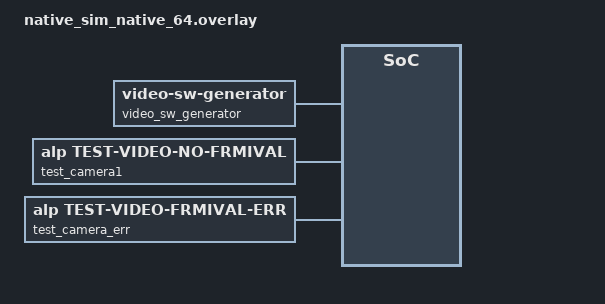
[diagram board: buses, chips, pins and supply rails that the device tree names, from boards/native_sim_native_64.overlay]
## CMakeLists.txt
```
# SPDX-License-Identifier: Apache-2.0
cmake_minimum_required(VERSION 3.20.0)
find_package(Zephyr REQUIRED HINTS $ENV{ZEPHYR_BASE})
project(test_camera_zephyr_video)
target_sources(app PRIVATE
    src/test_video_no_frmival.c
    src/test_video_frmival_err.c
    src/test_camera_zephyr_video.c)
```

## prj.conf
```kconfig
CONFIG_TEST=y
CONFIG_ZTEST=y
CONFIG_ALP_SDK=y

# Pin the SoC choice -- CONFIG_ALP_SDK=y needs one selected, same as
# tests/zephyr/video_sensors; unrelated to the camera backend under test.
CONFIG_ALP_SOC_ALIF_ENSEMBLE_E7=y

CONFIG_VIDEO=y
CONFIG_VIDEO_SW_GENERATOR=y

# native_sim (32-bit) has SRAM_SIZE=0 -> Zephyr picks SYS_HEAP_SMALL_ONLY,
# whose heaps top out at 262136 B; shrink the pool below that instead of the
# 2 MiB default, same as tests/zephyr/video_sensors.
CONFIG_VIDEO_BUFFER_POOL_HEAP_SIZE=65536
```

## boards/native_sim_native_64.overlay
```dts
/*
 * Copyright 2026 Alp Lab AB
 * SPDX-License-Identifier: Apache-2.0
 *
 * native_sim ships no built-in camera device, so this overlay
 * instantiates three: the upstream zephyr,video-sw-generator (a real
 * frame-interval-capable video device, upstream's own test pattern
 * generator -- see zephyr/drivers/video/video_sw_generator.c) aliased
 * alp-camera0, this test's own alp,test-video-no-frmival fake
 * (../dts/bindings/alp,test-video-no-frmival.yaml,
 * ../src/test_video_no_frmival.c) aliased alp-camera1, and this test's
 * alp,test-video-frmival-err fake (../dts/bindings/
 * alp,test-video-frmival-err.yaml, ../src/test_video_frmival_err.c),
 * NOT aliased -- the test source reaches it directly via
 * DT_NODELABEL(test_camera_err) for a direct camera_apply_fps() call,
 * never through alp_camera_open().
 * src/backends/camera/zephyr_video.c resolves camera_id 0/1 via
 * DT_ALIAS(alp_camera0)/DT_ALIAS(alp_camera1) (#2278).
 */
/ {
	aliases {
		alp-camera0 = &video_sw_generator;
		alp-camera1 = &test_camera1;
	};

	video_sw_generator: video-sw-generator {
		compatible = "zephyr,video-sw-generator";
		status = "okay";
	};

	test_camera1: test-camera1 {
		compatible = "alp,test-video-no-frmival";
		status = "okay";
	};

	test_camera_err: test-camera-err {
		compatible = "alp,test-video-frmival-err";
		status = "okay";
	};
};
```

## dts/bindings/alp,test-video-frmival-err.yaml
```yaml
# Copyright 2026 Alp Lab AB
# SPDX-License-Identifier: Apache-2.0
#
# Fake video device used only by the camera_zephyr_video ztest (#2278 round
# 2).  Implements ONLY .set_frmival, and it always fails with a non-ENOSYS
# error (-EIO) -- exercises camera_apply_fps()'s (camera_frmival.h) two
# non-ENOSYS branches directly: a backend-only default (requested_fps == 0)
# tolerating ANY negative rc, and a CALLER-requested rate mapping a non-
# ENOSYS error through the shared errno baseline instead of declining with
# ALP_ERR_NOSUPPORT (that status is reserved for -ENOSYS/-ENOTSUP).

description: |
  Minimal fake video controller whose .set_frmival always returns -EIO,
  backing the alp-sdk camera_zephyr_video unit test's direct
  camera_apply_fps() coverage.

compatible: "alp,test-video-frmival-err"

include: base.yaml
```

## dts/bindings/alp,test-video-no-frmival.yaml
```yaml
# Copyright 2026 Alp Lab AB
# SPDX-License-Identifier: Apache-2.0
#
# Fake video device used only by the camera_zephyr_video ztest (#2278).
# Implements just enough of the Zephyr drivers/video/ API for
# src/backends/camera/zephyr_video.c's z_open() to reach the fps step and
# succeed -- get_caps / set_format / get_format / enqueue / dequeue --
# while deliberately NOT implementing set_frmival / get_frmival /
# enum_frmival, so camera_apply_fps() (camera_frmival.h) sees the
# "this device has no frame-rate control at all" (-ENOSYS) path.

description: |
  Minimal fake video controller with no frame-interval control, backing
  the alp-sdk camera_zephyr_video unit test's alp-camera1 alias.

compatible: "alp,test-video-no-frmival"

include: base.yaml
```

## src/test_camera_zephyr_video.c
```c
/*
 * Copyright 2026 Alp Lab AB
 * SPDX-License-Identifier: Apache-2.0
 *
 * Regression coverage for issue #2278: src/backends/camera/zephyr_video.c
 * used to silently ignore alp_camera_config_t::fps.  Runs the real
 * zephyr_video backend (CONFIG_VIDEO=y links it at priority 50, see
 * zephyr/kconfigs/power-camera-display.kconfig) against three DT devices:
 *
 *   alp-camera0 -- upstream's zephyr,video-sw-generator, a REAL
 *                  frame-interval-capable video device (MIN/MAX_FRAME_RATE
 *                  1/60, default 30 -- zephyr/drivers/video/video_sw_generator.c).
 *   alp-camera1 -- this test's own alp,test-video-no-frmival fake
 *                  (test_video_no_frmival.c), which implements enough of
 *                  the video API for open()/close() to work but has NO
 *                  .set_frmival -- exercises camera_apply_fps()'s decline
 *                  path (camera_frmival.h).
 *   test_camera_err (not aliased) -- this test's alp,test-video-frmival-err
 *                  fake (test_video_frmival_err.c), whose .set_frmival
 *                  always returns -EIO -- called DIRECTLY (never through
 *                  alp_camera_open()) to exercise camera_apply_fps()'s
 *                  non-ENOSYS branches.
 *
 * ztest runs test cases in NAME order (SORT_BY_NAME), not declaration
 * order -- round 2 of this suite's review found that a rate-changing case
 * (fps_200's clamp to 60) can alphabetically precede fps_zero's, so every
 * case that touches alp-camera0's rate resets it explicitly rather than
 * assuming a fresh 30 fps default; see suite_before()/suite_after().
 *
 * native_sim / Linux-only via twister/CI (see scripts/test-all.sh).
 */

#include <errno.h>

#include <zephyr/device.h>
#include <zephyr/drivers/video.h>
#include <zephyr/logging/log.h>
#include <zephyr/ztest.h>

#include <alp/camera.h>
#include <alp/peripheral.h>

LOG_MODULE_REGISTER(test_camera_zephyr_video, CONFIG_LOG_DEFAULT_LEVEL);

/* Reaches the shared policy directly for the branches alp_camera_open()
 * alone can't exercise cheaply (a backend-only default tolerating an
 * arbitrary video_set_frmival() error) -- same relative-path convention as
 * tests/unit/camera_registry's "../../../../src/backends/camera/camera_ops.h". */
#include "../../../../src/backends/camera/camera_frmival.h"

#define CAM0_ID 0u
#define CAM1_ID 1u
#define CAM_W   64u
#define CAM_H   64u

/* zephyr_video.c's own fallback when CONFIG_ALP_SDK_MAX_CAMERA_HANDLES
 * isn't a real Kconfig symbol (it isn't -- no Kconfig file declares it,
 * so this #define always applies): the state pool holds this many
 * handles.  The leak-regression test below deliberately exceeds it. */
#define CAMERA_STATE_POOL_SIZE 2

/* video_sw_generator.c's own DEFAULT_FRAME_RATE. */
#define SW_GENERATOR_DEFAULT_FPS 30u

static const struct device *const cam0_dev     = DEVICE_DT_GET(DT_ALIAS(alp_camera0));
static const struct device *const cam1_dev     = DEVICE_DT_GET(DT_ALIAS(alp_camera1));
static const struct device *const test_err_dev = DEVICE_DT_GET(DT_NODELABEL(test_camera_err));

/* Tracked so suite_after() can close a handle a failed zassert_* left open
 * (ztest aborts the test function on the first failed assertion, so a body
 * that opens-then-asserts-then-closes never reaches its own close() call on
 * failure) -- without this, one failing case leaks a pool slot into every
 * case that runs after it (round-2 reviewer finding). */
static alp_camera_t *current_cam;

static void suite_before(void *fixture)
{
	ARG_UNUSED(fixture);
	current_cam = NULL;

	/* Put the generator back at its own compiled-in default before
	 * EVERY case, regardless of alphabetical run order -- undoes
	 * whatever rate a previous case (e.g. fps_200's clamp to 60) left
	 * behind. */
	struct video_frmival reset = { .numerator = 1, .denominator = SW_GENERATOR_DEFAULT_FPS };
	(void)video_set_frmival(cam0_dev, &reset);
}

static void suite_after(void *fixture)
{
	ARG_UNUSED(fixture);
	if (current_cam != NULL) {
		alp_camera_close(current_cam);
		current_cam = NULL;
	}
}

static alp_camera_config_t make_cfg(uint32_t camera_id, uint8_t fps)
{
	alp_camera_config_t cfg = ALP_CAMERA_CONFIG_DEFAULT(camera_id);
	cfg.width               = CAM_W;
	cfg.height              = CAM_H;
	cfg.fps                 = fps;
	return cfg;
}

ZTEST(alp_camera_zephyr_video_fps, test_fps_zero_leaves_generator_untouched)
{
	/* Preset a rate the generator would NEVER pick on its own (its
	 * compiled-in default is 30) directly, bypassing the portable API --
	 * proves camera_apply_fps() truly left the device alone rather than
	 * merely landing back on the same value it already had (an
	 * fps=0-vs-30-coincidence the original round-1 test couldn't tell
	 * apart from "untouched"). */
	struct video_frmival preset = { .numerator = 1, .denominator = 7u };
	zassert_ok(video_set_frmival(cam0_dev, &preset), NULL);

	alp_camera_config_t cfg = make_cfg(CAM0_ID, 0u);
	current_cam             = alp_camera_open(&cfg);
	zassert_not_null(current_cam, "fps=0 must open");

	struct video_frmival fi = { 0 };
	zassert_ok(video_get_frmival(cam0_dev, &fi), NULL);
	zassert_equal(fi.numerator, 1u, NULL);
	zassert_equal(fi.denominator,
	              7u,
	              "camera_apply_fps() must not touch the device when both "
	              "requested_fps and default_fps are 0");

	alp_camera_close(current_cam);
	current_cam = NULL;
}

ZTEST(alp_camera_zephyr_video_fps, test_fps_15_settles_exactly)
{
	alp_camera_config_t cfg = make_cfg(CAM0_ID, 15u);
	current_cam             = alp_camera_open(&cfg);

	zassert_not_null(current_cam, "fps=15 is within the generator's 1-60 range");

	struct video_frmival fi = { 0 };
	zassert_ok(video_get_frmival(cam0_dev, &fi), NULL);
	zassert_equal(fi.numerator, 1u, NULL);
	zassert_equal(fi.denominator, 15u, "requested rate lands exactly");

	alp_camera_close(current_cam);
	current_cam = NULL;
}

ZTEST(alp_camera_zephyr_video_fps, test_fps_200_clamps_to_generators_ceiling)
{
	alp_camera_config_t cfg = make_cfg(CAM0_ID, 200u);
	current_cam             = alp_camera_open(&cfg);

	/* video_sw_generator_set_frmival() CLAMPs to MAX_FRAME_RATE (60) and
	 * still returns 0 -- not a decline, just a nearest-settle -- so
	 * open() succeeds instead of failing with ALP_ERR_NOSUPPORT. */
	zassert_not_null(current_cam, "an out-of-range request settles, it doesn't fail open()");

	struct video_frmival fi = { 0 };
	zassert_ok(video_get_frmival(cam0_dev, &fi), NULL);
	zassert_equal(fi.numerator, 1u, NULL);
	zassert_equal(fi.denominator, 60u, "clamped to the generator's own ceiling");

	/* alp_camera_get_fps() (#2279) is a SEPARATE read of the device, not a
	 * cache of what camera_apply_fps() settled on (that settled value is
	 * passed as NULL and discarded at this call site -- see
	 * zephyr_video.c's z_open()) -- pin that the getter agrees with the
	 * clamped 60 fps the raw video_get_frmival() call above just read. */
	uint32_t fps_x1000 = 0u;
	zassert_ok(alp_camera_get_fps(current_cam, &fps_x1000), NULL);
	zassert_equal(
	    fps_x1000, 60000u, "getter must report the clamped 60 fps, not the 200 requested");

	alp_camera_close(current_cam);
	current_cam = NULL;
}

ZTEST(alp_camera_zephyr_video_fps, test_fps_nonzero_on_no_frmival_device_declines_loudly)
{
	alp_camera_config_t cfg = make_cfg(CAM1_ID, 30u);
	alp_camera_t       *cam = alp_camera_open(&cfg);

	zassert_is_null(cam, "alp-camera1 has no frame-rate control at all");
	zassert_equal(alp_last_error(), ALP_ERR_NOSUPPORT);
}

ZTEST(alp_camera_zephyr_video_fps, test_fps_zero_on_no_frmival_device_opens)
{
	alp_camera_config_t cfg = make_cfg(CAM1_ID, 0u);
	current_cam             = alp_camera_open(&cfg);

	zassert_not_null(current_cam,
	                 "fps=0 has no opinion, so the missing frmival ops are never touched");

	/* No frame-interval getter exists on this fake (deliberately -- see
	 * test_video_no_frmival.c); video_get_frmival() itself must report
	 * the absence rather than crash. */
	struct video_frmival fi = { 0 };
	zassert_equal(video_get_frmival(cam1_dev, &fi), -ENOSYS);

	/* alp_camera_get_fps() (#2279) reads the SAME device and must surface
	 * the same "cannot report" outcome as ALP_ERR_NOSUPPORT, not a stale
	 * or fabricated rate -- camera_dispatch.c's alp_camera_get_fps()
	 * maps a 0 fps_x1000 (alp_camera_read_fps_x1000() returns 0 when
	 * video_get_frmival() fails) to ALP_ERR_NOSUPPORT. */
	uint32_t fps_x1000 = 0u;
	zassert_equal(alp_camera_get_fps(current_cam, &fps_x1000),
	              ALP_ERR_NOSUPPORT,
	              "getter must decline when the device can't report its frame interval");

	alp_camera_close(current_cam);
	current_cam = NULL;
}

ZTEST(alp_camera_zephyr_video_fps, test_fps_decline_does_not_leak_the_state_pool)
{
	/* A single decline-then-reopen can't tell a REAL slot release apart
	 * from a pool that merely had one spare slot to begin with -- decline
	 * pool_size+1 times in a row so a leaked _free_state() would exhaust
	 * the pool before the final reopen (round-2 reviewer finding: the
	 * original single-decline test still passed 5/5 under a mutation that
	 * deleted zephyr_video.c's _free_state() call on this path). */
	for (int i = 0; i < CAMERA_STATE_POOL_SIZE + 1; i++) {
		alp_camera_config_t cfg = make_cfg(CAM1_ID, 30u);
		alp_camera_t       *cam = alp_camera_open(&cfg);

		zassert_is_null(cam, "decline #%d must not hand back a handle", i);
	}

	alp_camera_config_t retry = make_cfg(CAM1_ID, 0u);
	current_cam               = alp_camera_open(&retry);

	zassert_not_null(current_cam,
	                 "%d declines against a %d-slot pool must not exhaust it -- each decline "
	                 "releases its slot before returning",
	                 CAMERA_STATE_POOL_SIZE + 1,
	                 CAMERA_STATE_POOL_SIZE);

	alp_camera_close(current_cam);
	current_cam = NULL;
}

ZTEST(alp_camera_zephyr_video_fps, test_apply_fps_backend_default_tolerates_enosys)
{
	/* Direct camera_apply_fps() call: requested_fps == 0 (only a backend
	 * default asked), default_fps == 10, against alp-camera1 which has
	 * no frame-rate control at all (-ENOSYS).  Must not fail -- a
	 * backend-only default never bricks an open() the caller never asked
	 * to fail (restores alif_isp_pico.c's pre-#2278 tolerance). */
	struct video_frmival settled = { .numerator = 111, .denominator = 222 }; /* poison */
	alp_status_t         status  = camera_apply_fps(cam1_dev, CAM1_ID, 0u, 10u, &settled);

	zassert_equal(status, ALP_OK, "a backend-only default must tolerate -ENOSYS, not fail open()");
	zassert_equal(settled.numerator, 0u, "no successful set landed -- settled stays {0,0}");
	zassert_equal(settled.denominator, 0u, NULL);
}

ZTEST(alp_camera_zephyr_video_fps, test_apply_fps_backend_default_tolerates_non_enosys_error)
{
	/* Same as above, but against test_camera_err, whose .set_frmival
	 * always returns -EIO -- a non-ENOSYS error.  The policy is graded
	 * by WHO asked (requested_fps == 0 here), not by the errno, so this
	 * must ALSO just warn and return ALP_OK. */
	struct video_frmival settled = { .numerator = 111, .denominator = 222 };
	alp_status_t         status  = camera_apply_fps(test_err_dev, CAM1_ID, 0u, 10u, &settled);

	zassert_equal(status, ALP_OK, "a backend-only default must tolerate ANY set_frmival() error");
	zassert_equal(settled.numerator, 0u, NULL);
	zassert_equal(settled.denominator, 0u, NULL);
}

ZTEST(alp_camera_zephyr_video_fps, test_apply_fps_caller_non_enosys_error_maps_through)
{
	/* A CALLER-requested nonzero rate against the same -EIO device must
	 * NOT decline with ALP_ERR_NOSUPPORT (that status is reserved for
	 * -ENOSYS/-ENOTSUP) -- it maps through the shared errno baseline
	 * instead, same as any other backend call failure. */
	struct video_frmival settled = { 0 };
	alp_status_t         status  = camera_apply_fps(test_err_dev, CAM1_ID, 15u, 0u, &settled);

	zassert_equal(status,
	              ALP_ERR_IO,
	              "a non-ENOSYS video_set_frmival() failure on a CALLER request maps "
	              "through alp_status_from_zephyr_errno(), it does not become "
	              "ALP_ERR_NOSUPPORT");
}

ZTEST_SUITE(alp_camera_zephyr_video_fps, NULL, NULL, suite_before, suite_after, NULL);
```

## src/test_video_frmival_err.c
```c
/*
 * Copyright 2026 Alp Lab AB
 * SPDX-License-Identifier: Apache-2.0
 *
 * Fake video controller backing the alp,test-video-frmival-err DT node
 * (see ../dts/bindings/alp,test-video-frmival-err.yaml).  Implements ONLY
 * .set_frmival, and it always fails with -EIO -- a non-ENOSYS error --
 * so the test source can call camera_apply_fps() (camera_frmival.h)
 * directly against a device whose frame-rate control exists but is
 * transiently/permanently broken, distinct from alp,test-video-no-frmival
 * (which has no frame-rate control AT ALL, i.e. -ENOSYS).  Not wired to
 * any alp-cameraN alias -- this device is never opened through
 * alp_camera_open(), only referenced directly in the test source (#2278
 * round 2).
 */

#define DT_DRV_COMPAT alp_test_video_frmival_err

#include <errno.h>

#include <zephyr/device.h>
#include <zephyr/drivers/video.h>

static int test_video_frmival_err_set_frmival(const struct device  *dev,
                                              struct video_frmival *frmival)
{
	ARG_UNUSED(dev);
	ARG_UNUSED(frmival);
	return -EIO;
}

static DEVICE_API(video, test_video_frmival_err_api) = {
	.set_frmival = test_video_frmival_err_set_frmival,
};

static int test_video_frmival_err_init(const struct device *dev)
{
	ARG_UNUSED(dev);
	return 0;
}

#define TEST_VIDEO_FRMIVAL_ERR_INIT(n) \
	DEVICE_DT_INST_DEFINE(n, \
	                      test_video_frmival_err_init, \
	                      NULL, \
	                      NULL, \
	                      NULL, \
	                      POST_KERNEL, \
	                      CONFIG_VIDEO_INIT_PRIORITY, \
	                      &test_video_frmival_err_api);

DT_INST_FOREACH_STATUS_OKAY(TEST_VIDEO_FRMIVAL_ERR_INIT)
```

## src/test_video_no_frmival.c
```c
/*
 * Copyright 2026 Alp Lab AB
 * SPDX-License-Identifier: Apache-2.0
 *
 * Fake video controller backing the alp,test-video-no-frmival DT node
 * (see ../dts/bindings/alp,test-video-no-frmival.yaml and
 * ../boards/native_sim.overlay).  Gives
 * src/backends/camera/zephyr_video.c's z_open() a real device to reach
 * the fps step with -- get_caps / set_format / get_format / enqueue /
 * dequeue are all implemented, just enough for open()/close() to run
 * end to end -- but .set_frmival / .get_frmival / .enum_frmival are
 * deliberately absent, so camera_apply_fps() (camera_frmival.h) sees
 * video_set_frmival() return -ENOSYS: "this device has no frame-rate
 * control at all" (#2278).
 */

#define DT_DRV_COMPAT alp_test_video_no_frmival

#include <errno.h>

#include <zephyr/device.h>
#include <zephyr/drivers/video.h>

/* Fixed 64x64 RGB565 -- inside video_bits_per_pixel()'s known table, and
 * big enough for zephyr_video.c's z_open() to size a real (non-dummy)
 * buffer allocation. */
#define TEST_VIDEO_WIDTH  64
#define TEST_VIDEO_HEIGHT 64

static int test_video_get_caps(const struct device *dev, struct video_caps *caps)
{
	ARG_UNUSED(dev);
	/* No format_caps list -- z_open() takes its "no portable FourCC
	 * negotiated" fallback branch (video_get_format() below) regardless
	 * of the caller's requested format/width/height. */
	caps->format_caps    = NULL;
	caps->min_vbuf_count = 1;
	return 0;
}

static int test_video_set_format(const struct device *dev, struct video_format *fmt)
{
	ARG_UNUSED(dev);
	ARG_UNUSED(fmt);
	return 0;
}

static int test_video_get_format(const struct device *dev, struct video_format *fmt)
{
	ARG_UNUSED(dev);
	fmt->pixelformat = VIDEO_PIX_FMT_RGB565;
	fmt->width       = TEST_VIDEO_WIDTH;
	fmt->height      = TEST_VIDEO_HEIGHT;
	fmt->pitch       = 0u;
	return 0;
}

static int test_video_enqueue(const struct device *dev, struct video_buffer *vbuf)
{
	ARG_UNUSED(dev);
	ARG_UNUSED(vbuf);
	/* Accept unconditionally -- this test only exercises open()/close(),
	 * never start()/capture(), so nothing needs to actually queue. */
	return 0;
}

static int
test_video_dequeue(const struct device *dev, struct video_buffer **vbuf, k_timeout_t timeout)
{
	ARG_UNUSED(dev);
	ARG_UNUSED(vbuf);
	ARG_UNUSED(timeout);
	/* Nothing was ever queued for real -- close()'s drain loop
	 * (_release_vbufs) stops on the first nonzero return. */
	return -EAGAIN;
}

static DEVICE_API(video, test_video_no_frmival_api) = {
	.get_caps   = test_video_get_caps,
	.set_format = test_video_set_format,
	.get_format = test_video_get_format,
	.enqueue    = test_video_enqueue,
	.dequeue    = test_video_dequeue,
	/* Deliberately no .set_frmival / .get_frmival / .enum_frmival --
	 * the whole point of this fake (#2278). */
};

static int test_video_no_frmival_init(const struct device *dev)
{
	ARG_UNUSED(dev);
	return 0;
}

#define TEST_VIDEO_NO_FRMIVAL_INIT(n) \
	DEVICE_DT_INST_DEFINE(n, \
	                      test_video_no_frmival_init, \
	                      NULL, \
	                      NULL, \
	                      NULL, \
	                      POST_KERNEL, \
	                      CONFIG_VIDEO_INIT_PRIORITY, \
	                      &test_video_no_frmival_api);

DT_INST_FOREACH_STATUS_OKAY(TEST_VIDEO_NO_FRMIVAL_INIT)
```
